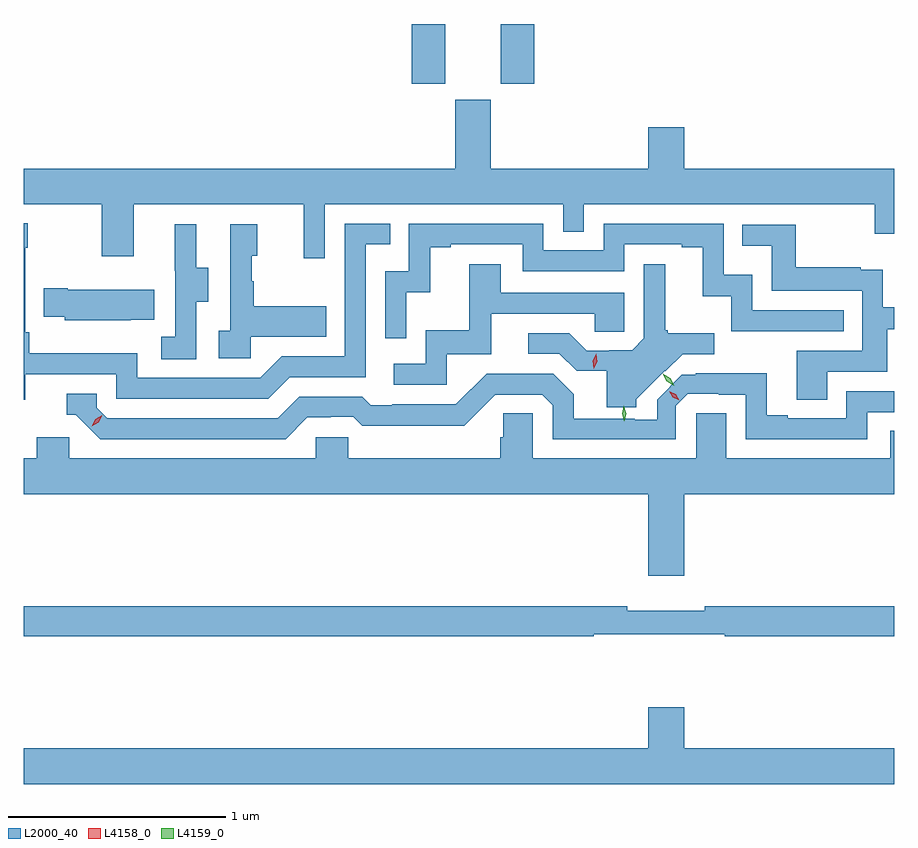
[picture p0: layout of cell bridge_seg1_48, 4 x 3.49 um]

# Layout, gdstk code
import gdstk
lib = gdstk.Library(unit=1e-6, precision=1e-09)
def R(c, l, rs):  # rectangles x0, y0, x1, y1
    for r in rs: c.add(gdstk.rectangle(r[:2], r[2:], *l))
def P(c, l, *ps):  # polygons
    for p in ps: c.add(gdstk.Polygon(p, *l))
L2000_40 = (2000, 40)
L4158_0 = (4158, 0)
L4159_0 = (4159, 0)

bridge_seg1_48 = lib.new_cell('bridge_seg1_48')
R(bridge_seg1_48, L2000_40, [(1086.998,556.281,1087.15,556.556), (1087.406,556.281,1087.559,556.556)])
P(bridge_seg1_48, L2000_40, [(1086.597,555.728),(1087.692,555.728),(1087.692,555.601),(1087.788,555.601),(1087.788,555.728),(1089.124,555.728),(1089.124,555.593),(1089.214,555.593),(1089.214,555.892),(1088.248,555.892),(1088.248,556.081),(1088.084,556.081),(1088.084,555.892),(1087.36,555.892),(1087.36,556.209),(1087.196,556.209),(1087.196,555.892),(1085.214,555.892),(1085.214,555.728),(1085.572,555.728),(1085.572,555.489),(1085.719,555.489),(1085.719,555.728),(1086.5,555.728),(1086.5,555.48),(1086.597,555.48)],
  [(1085.222,554.946),(1085.64,554.946),(1085.64,554.835),(1086.337,554.835),(1086.436,554.934),(1086.786,554.934),(1086.786,555.543),(1086.899,555.543),(1086.899,555.639),(1086.69,555.639),(1086.69,555.03),(1086.399,555.03),(1086.3,554.931),(1085.736,554.931),(1085.736,555.043),(1085.24,555.043),(1085.24,555.139),(1085.22,555.139),(1085.22,555.527),(1085.233,555.527),(1085.233,555.64),(1085.214,555.64),(1085.214,554.83),(1085.222,554.83)],
  [(1086.972,555.323),(1087.082,555.323),(1087.082,555.531),(1087.177,555.531),(1087.177,555.543),(1087.506,555.543),(1087.506,555.42),(1087.974,555.42),(1087.974,555.543),(1088.237,555.543),(1088.237,555.531),(1088.333,555.531),(1088.333,555.305),(1088.466,555.305),(1088.466,555.144),(1088.981,555.144),(1088.981,555.24),(1088.562,555.24),(1088.562,555.403),(1088.43,555.403),(1088.43,555.639),(1087.878,555.639),(1087.878,555.516),(1087.602,555.516),(1087.602,555.639),(1086.984,555.639),(1086.984,555.42),(1086.876,555.42),(1086.876,555.111),(1086.972,555.111)],
  [(1086.006,555.28),(1086.061,555.28),(1086.061,555.435),(1086.007,555.435),(1086.007,555.637),(1085.909,555.637),(1085.909,555.423),(1085.91,555.423),(1085.91,555.119),(1085.847,555.119),(1085.847,555.016),(1086.006,555.016)],
  [(1086.258,555.119),(1086.605,555.119),(1086.605,555.259),(1086.271,555.259),(1086.271,555.374),(1086.261,555.374),(1086.261,555.492),(1086.286,555.492),(1086.286,555.637),(1086.162,555.637),(1086.162,555.146),(1086.111,555.146),(1086.111,555.021),(1086.258,555.021)],
  [(1088.905,554.958),(1089.182,554.958),(1089.182,555.154),(1089.214,555.154),(1089.214,555.255),(1089.162,555.255),(1089.162,555.427),(1089.059,555.427),(1089.059,555.439),(1088.761,555.439),(1088.761,555.633),(1088.515,555.633),(1088.515,555.536),(1088.65,555.536),(1088.65,555.33),(1089.066,555.33),(1089.066,555.054),(1088.765,555.054),(1088.765,554.83),(1088.905,554.83)],
  [(1088.029,554.832),(1088.159,554.962),(1088.162,554.96),(1088.241,555.039),(1088.386,555.039),(1088.386,555.136),(1088.173,555.136),(1088.173,555.148),(1088.161,555.148),(1088.161,555.451),(1088.064,555.451),(1088.064,555.111),(1088.01,555.057),(1087.905,555.057),(1087.905,555.054),(1087.801,555.054),(1087.72,555.135),(1087.533,555.135),(1087.533,555.042),(1087.674,555.042),(1087.754,554.962),(1087.893,554.962),(1087.893,554.794),(1088.029,554.794)],
  [(1087.158,555.039),(1087.363,555.039),(1087.363,555.225),(1087.837,555.225),(1087.837,555.142),(1087.974,555.142),(1087.974,555.321),(1087.405,555.321),(1087.405,555.451),(1087.261,555.451),(1087.261,555.148),(1087.062,555.148),(1087.062,554.994),(1086.915,554.994),(1086.915,554.898),(1087.158,554.898)],
  [(1085.705,555.197),(1085.813,555.197),(1085.813,555.334),(1085.416,555.334),(1085.416,555.342),(1085.305,555.342),(1085.305,555.212),(1085.403,555.212),(1085.403,555.194),(1085.705,555.194)],
  [(1086.517,554.748),(1086.624,554.748),(1086.624,554.751),(1086.727,554.751),(1086.769,554.709),(1087.002,554.709),(1087.002,554.711),(1087.238,554.711),(1087.38,554.853),(1087.596,554.853),(1087.644,554.805),(1087.644,554.649),(1088.211,554.649),(1088.211,554.802),(1088.266,554.857),(1088.407,554.857),(1088.407,554.853),(1088.532,554.853),(1088.532,554.649),(1089.09,554.649),(1089.09,554.772),(1089.214,554.772),(1089.214,554.868),(1088.994,554.868),(1088.994,554.745),(1088.725,554.745),(1088.725,554.758),(1088.629,554.758),(1088.629,554.951),(1088.301,554.951),(1088.301,554.944),(1088.238,554.944),(1088.124,554.83),(1088.124,554.738),(1088.021,554.738),(1088.021,554.742),(1087.741,554.742),(1087.741,554.855),(1087.647,554.949),(1087.341,554.949),(1087.2,554.808),(1086.907,554.808),(1086.907,554.805),(1086.808,554.805),(1086.769,554.844),(1086.48,554.844),(1086.381,554.745),(1085.598,554.745),(1085.55,554.793),(1085.55,554.856),(1085.411,554.856),(1085.411,554.76),(1085.454,554.76),(1085.565,554.649),(1086.418,554.649)],
  [(1088.248,554.396),(1089.214,554.396),(1089.214,554.687),(1089.195,554.687),(1089.195,554.56),(1088.443,554.56),(1088.443,554.768),(1088.303,554.768),(1088.303,554.56),(1087.554,554.56),(1087.554,554.768),(1087.417,554.768),(1087.417,554.658),(1087.403,554.658),(1087.403,554.56),(1086.705,554.56),(1086.705,554.658),(1086.555,554.658),(1086.555,554.56),(1085.424,554.56),(1085.424,554.658),(1085.273,554.658),(1085.273,554.56),(1085.214,554.56),(1085.214,554.396),(1088.084,554.396),(1088.084,554.022),(1088.248,554.022)],
  [(1087.834,553.752),(1088.434,553.752),(1088.434,553.744),(1089.214,553.744),(1089.214,553.88),(1088.344,553.88),(1088.344,553.861),(1087.988,553.861),(1087.988,553.88),(1085.214,553.88),(1085.214,553.744),(1087.834,553.744)],
  [(1089.214,553.228),(1088.248,553.228),(1088.248,553.417),(1088.084,553.417),(1088.084,553.228),(1085.214,553.228),(1085.214,553.064),(1089.214,553.064)])
P(bridge_seg1_48, L4158_0, [(1087.834,554.972),(1087.834,554.972),(1087.829,555.008),(1087.844,555.041),(1087.844,555.041),(1087.845,555.041),(1087.849,555.005),(1087.834,554.972)],
  [(1088.227,554.827),(1088.196,554.84),(1088.179,554.868),(1088.179,554.868),(1088.179,554.868),(1088.21,554.855),(1088.227,554.827),(1088.227,554.827)],
  [(1085.527,554.707),(1085.527,554.707),(1085.543,554.74),(1085.574,554.759),(1085.574,554.759),(1085.574,554.759),(1085.558,554.726),(1085.527,554.707)])
P(bridge_seg1_48, L4159_0, [(1088.203,554.894),(1088.169,554.914),(1088.15,554.948),(1088.15,554.949),(1088.15,554.949),(1088.184,554.928),(1088.204,554.894),(1088.204,554.894)],
  [(1087.974,554.73),(1087.974,554.73),(1087.963,554.766),(1087.972,554.802),(1087.972,554.802),(1087.972,554.802),(1087.983,554.766),(1087.974,554.73)])

lib.write_gds('bridge_seg1_48.gds')
